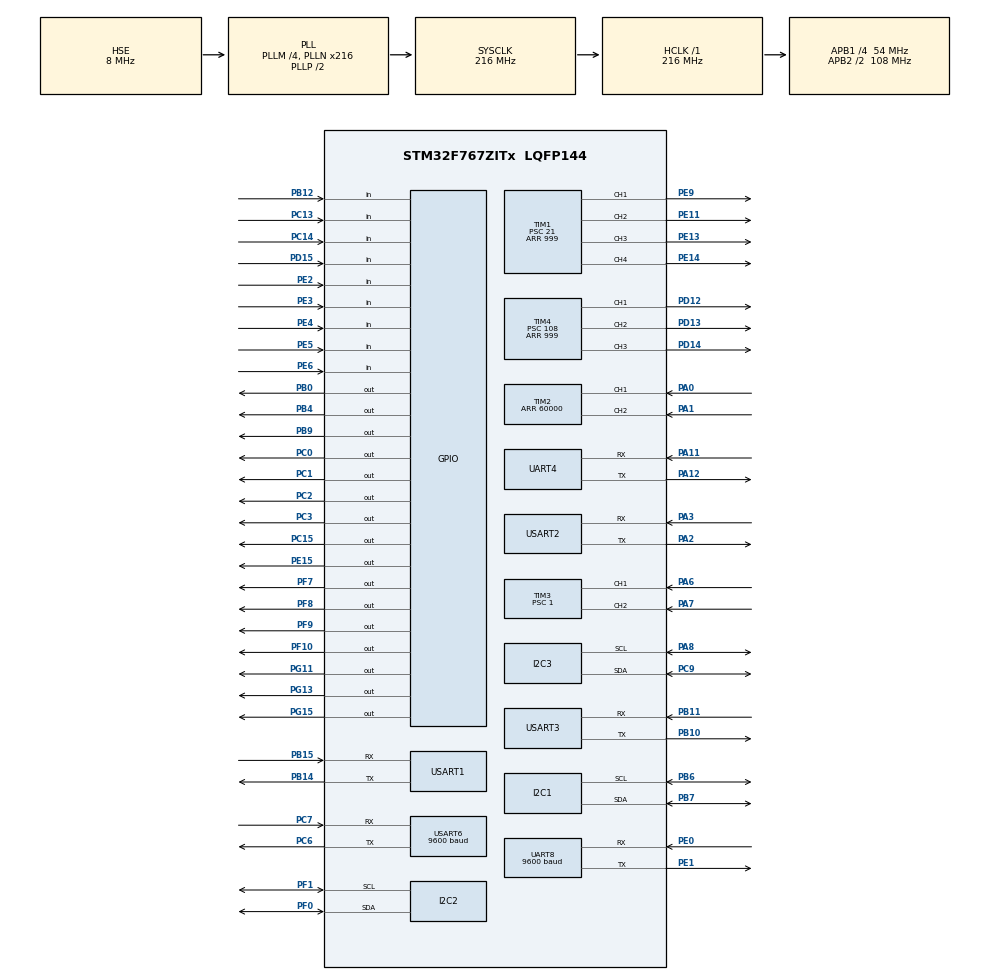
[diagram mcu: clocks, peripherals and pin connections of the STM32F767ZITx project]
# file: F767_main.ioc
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CORTEX_M7.ART_ACCLERATOR_ENABLE=1
CORTEX_M7.CPU_DCache=Enabled
CORTEX_M7.CPU_ICache=Enabled
CORTEX_M7.FlashInterface=TCM_Enabled
CORTEX_M7.PREFETCH_ENABLE=1
Dma.Request0=USART2_RX
Dma.Request1=USART3_RX
Dma.Request2=UART4_RX
Dma.UART4_RX.2.Direction=DMA_PERIPH_TO_MEMORY
Dma.UART4_RX.2.FIFOMode=DMA_FIFOMODE_DISABLE
Dma.UART4_RX.2.Instance=DMA1_Stream2
Dma.UART4_RX.2.MemDataAlignment=DMA_MDATAALIGN_BYTE
Dma.UART4_RX.2.MemInc=DMA_MINC_ENABLE
Dma.UART4_RX.2.Mode=DMA_CIRCULAR
Dma.UART4_RX.2.PeriphDataAlignment=DMA_PDATAALIGN_BYTE
Dma.UART4_RX.2.PeriphInc=DMA_PINC_DISABLE
Dma.UART4_RX.2.Priority=DMA_PRIORITY_LOW
Dma.USART2_RX.0.Direction=DMA_PERIPH_TO_MEMORY
Dma.USART2_RX.0.FIFOMode=DMA_FIFOMODE_DISABLE
Dma.USART2_RX.0.Instance=DMA1_Stream5
Dma.USART2_RX.0.MemDataAlignment=DMA_MDATAALIGN_BYTE
Dma.USART2_RX.0.MemInc=DMA_MINC_ENABLE
Dma.USART2_RX.0.Mode=DMA_CIRCULAR
Dma.USART2_RX.0.PeriphDataAlignment=DMA_PDATAALIGN_BYTE
Dma.USART2_RX.0.PeriphInc=DMA_PINC_DISABLE
Dma.USART2_RX.0.Priority=DMA_PRIORITY_LOW
Dma.USART3_RX.1.Direction=DMA_PERIPH_TO_MEMORY
Dma.USART3_RX.1.FIFOMode=DMA_FIFOMODE_DISABLE
Dma.USART3_RX.1.Instance=DMA1_Stream1
Dma.USART3_RX.1.MemDataAlignment=DMA_MDATAALIGN_BYTE
Dma.USART3_RX.1.MemInc=DMA_MINC_ENABLE
Dma.USART3_RX.1.Mode=DMA_CIRCULAR
Dma.USART3_RX.1.PeriphDataAlignment=DMA_PDATAALIGN_BYTE
Dma.USART3_RX.1.PeriphInc=DMA_PINC_DISABLE
Dma.USART3_RX.1.Priority=DMA_PRIORITY_LOW
I2C1.I2C_Fall_Time=300
I2C1.I2C_Rise_Time=1000
I2C1.Timing=0x40D32A31
I2C2.I2C_Fall_Time=300
I2C2.I2C_Rise_Time=1000
I2C2.Timing=0x40D32A31
I2C3.I2C_Fall_Time=300
I2C3.I2C_Rise_Time=1000
I2C3.Timing=0x40D32A31
IWDG.Prescaler=IWDG_PRESCALER_32
Mcu.Family=STM32F7
Mcu.Name=STM32F767ZITx
Mcu.Package=LQFP144
NVIC.DMA1_Stream1_IRQn=true\:4\:0\:true\:false\:true\:false
NVIC.DMA1_Stream2_IRQn=true\:3\:0\:true\:false\:true\:false
NVIC.DMA1_Stream5_IRQn=true\:2\:0\:true\:false\:true\:false
NVIC.PriorityGroup=NVIC_PRIORITYGROUP_4
NVIC.TIM6_DAC_IRQn=true\:5\:0\:true\:false\:true\:true
PA0/WKUP.Signal=S_TIM2_CH1_ETR
PA1.Signal=S_TIM2_CH2
PA11.Mode=Asynchronous
PA11.Signal=UART4_RX
PA12.Mode=Asynchronous
PA12.Signal=UART4_TX
PA13.Mode=Serial_Wire
PA13.Signal=SYS_JTMS-SWDIO
PA14.Mode=Serial_Wire
PA14.Signal=SYS_JTCK-SWCLK
PA2.Mode=Asynchronous
PA2.Signal=USART2_TX
PA3.Mode=Asynchronous
PA3.Signal=USART2_RX
PA6.Signal=S_TIM3_CH1
PA7.Signal=S_TIM3_CH2
PA8.Mode=I2C
PA8.Signal=I2C3_SCL
PB0.Signal=GPIO_Output
PB10.Mode=Asynchronous
PB10.Signal=USART3_TX
PB11.Mode=Asynchronous
PB11.Signal=USART3_RX
PB12.Signal=GPIO_Input
PB14.Mode=Asynchronous
PB14.Signal=USART1_TX
PB15.Mode=Asynchronous
PB15.Signal=USART1_RX
PB4.Signal=GPIO_Output
PB6.Mode=I2C
PB6.Signal=I2C1_SCL
PB7.Mode=I2C
PB7.Signal=I2C1_SDA
PB9.Signal=GPIO_Output
PC0.Signal=GPIO_Output
PC1.Signal=GPIO_Output
PC13.Signal=GPIO_Input
PC14/OSC32_IN.Signal=GPIO_Input
PC15/OSC32_OUT.Signal=GPIO_Output
PC2.Signal=GPIO_Output
PC3.Signal=GPIO_Output
PC6.Mode=Asynchronous
PC6.Signal=USART6_TX
PC7.Mode=Asynchronous
PC7.Signal=USART6_RX
PC9.Mode=I2C
PC9.Signal=I2C3_SDA
PD12.Signal=S_TIM4_CH1
PD13.Signal=S_TIM4_CH2
PD14.Signal=S_TIM4_CH3
PD15.Signal=GPIO_Input
PE0.Mode=Asynchronous
PE0.Signal=UART8_RX
PE1.Mode=Asynchronous
PE1.Signal=UART8_TX
PE11.Signal=S_TIM1_CH2
PE13.Signal=S_TIM1_CH3
PE14.Signal=S_TIM1_CH4
PE15.Signal=GPIO_Output
PE2.Signal=GPIO_Input
PE3.Signal=GPIO_Input
PE4.Signal=GPIO_Input
PE5.Signal=GPIO_Input
PE6.Signal=GPIO_Input
PE9.Signal=S_TIM1_CH1
PF0.Mode=I2C
PF0.Signal=I2C2_SDA
PF1.Mode=I2C
PF1.Signal=I2C2_SCL
PF10.Signal=GPIO_Output
PF7.Signal=GPIO_Output
PF8.Signal=GPIO_Output
PF9.Signal=GPIO_Output
PG11.Signal=GPIO_Output
PG13.Signal=GPIO_Output
PG15.Signal=GPIO_Output
PH0/OSC_IN.Mode=HSE-External-Oscillator
PH0/OSC_IN.Signal=RCC_OSC_IN
PH1/OSC_OUT.Mode=HSE-External-Oscillator
PH1/OSC_OUT.Signal=RCC_OSC_OUT
ProjectManager.HeapSize=0x400
ProjectManager.StackSize=0x800
ProjectManager.TargetToolchain=TrueSTUDIO
RCC.AHBFreq_Value=216000000
RCC.APB1CLKDivider=RCC_HCLK_DIV4
RCC.APB1Freq_Value=54000000
RCC.APB1TimFreq_Value=108000000
RCC.APB2CLKDivider=RCC_HCLK_DIV2
RCC.APB2Freq_Value=108000000
RCC.APB2TimFreq_Value=216000000
RCC.CortexFreq_Value=216000000
RCC.HCLKFreq_Value=216000000
RCC.HSE_VALUE=8000000
RCC.HSI_VALUE=16000000
RCC.LSE_VALUE=32768
RCC.PLLM=4
RCC.PLLN=216
RCC.PLLSourceVirtual=RCC_PLLSOURCE_HSE
RCC.SYSCLKFreq_VALUE=216000000
RCC.SYSCLKSource=RCC_SYSCLKSOURCE_PLLCLK
RCC.USBFreq_Value=216000000
RCC.VCOOutputFreq_Value=432000000
SH.S_TIM1_CH1.0=TIM1_CH1,PWM Generation1 CH1
SH.S_TIM1_CH2.0=TIM1_CH2,PWM Generation2 CH2
SH.S_TIM1_CH3.0=TIM1_CH3,PWM Generation3 CH3
SH.S_TIM1_CH4.0=TIM1_CH4,Output Compare4 CH4
SH.S_TIM2_CH1_ETR.0=TIM2_CH1,Encoder_Interface
SH.S_TIM2_CH2.0=TIM2_CH2,Encoder_Interface
SH.S_TIM3_CH1.0=TIM3_CH1,Encoder_Interface
SH.S_TIM3_CH2.0=TIM3_CH2,Encoder_Interface
SH.S_TIM4_CH1.0=TIM4_CH1,PWM Generation1 CH1
SH.S_TIM4_CH2.0=TIM4_CH2,PWM Generation2 CH2
SH.S_TIM4_CH3.0=TIM4_CH3,PWM Generation3 CH3
TIM1.Channel-Output\ Compare4\ CH4=TIM_CHANNEL_4
TIM1.Channel-PWM\ Generation1\ CH1=TIM_CHANNEL_1
TIM1.Channel-PWM\ Generation2\ CH2=TIM_CHANNEL_2
TIM1.Channel-PWM\ Generation3\ CH3=TIM_CHANNEL_3
TIM1.Period=999
TIM1.Prescaler=21
TIM2.Period=60000
TIM3.IC1Filter=2
TIM3.IC2Filter=2
TIM3.Period=7
TIM3.Prescaler=1
TIM4.Channel-PWM\ Generation1\ CH1=TIM_CHANNEL_1
TIM4.Channel-PWM\ Generation2\ CH2=TIM_CHANNEL_2
TIM4.Channel-PWM\ Generation3\ CH3=TIM_CHANNEL_3
TIM4.Period=999
TIM4.Prescaler=108
TIM6.Period=215
TIM6.Prescaler=10
UART4.WordLength=WORDLENGTH_8B
UART8.BaudRate=9600
UART8.WordLength=WORDLENGTH_8B
USART1.VirtualMode-Asynchronous=VM_ASYNC
USART1.WordLength=WORDLENGTH_8B
USART2.VirtualMode-Asynchronous=VM_ASYNC
USART2.WordLength=WORDLENGTH_8B
USART3.VirtualMode-Asynchronous=VM_ASYNC
USART3.WordLength=WORDLENGTH_8B
USART6.BaudRate=9600
USART6.VirtualMode-Asynchronous=VM_ASYNC
USART6.WordLength=WORDLENGTH_8B
VP_IWDG_VS_IWDG.Mode=IWDG_Activate
VP_TIM6_VS_ClockSourceINT.Mode=Enable_Timer
board=F767_main

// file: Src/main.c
/**
  ******************************************************************************
  * File Name          : main.c
  * Description        : Main program body
  ******************************************************************************
  ** This notice applies to any and all portions of this file
  * that are not between comment pairs USER CODE BEGIN and
  * USER CODE END. Other portions of this file, whether
  * inserted by the user or by software development tools
  * are owned by their respective copyright owners.
  *
  * COPYRIGHT(c) 2018 STMicroelectronics
  *
  * Redistribution and use in source and binary forms, with or without modification,
  * are permitted provided that the following conditions are met:
  *   1. Redistributions of source code must retain the above copyright notice,
  *      this list of conditions and the following disclaimer.
  *   2. Redistributions in binary form must reproduce the above copyright notice,
  *      this list of conditions and the following disclaimer in the documentation
  *      and/or other materials provided with the distribution.
  *   3. Neither the name of STMicroelectronics nor the names of its contributors
  *      may be used to endorse or promote products derived from this software
  *      without specific prior written permission.
  *
  * THIS SOFTWARE IS PROVIDED BY THE COPYRIGHT HOLDERS AND CONTRIBUTORS "AS IS"
  * AND ANY EXPRESS OR IMPLIED WARRANTIES, INCLUDING, BUT NOT LIMITED TO, THE
  * IMPLIED WARRANTIES OF MERCHANTABILITY AND FITNESS FOR A PARTICULAR PURPOSE ARE
  * DISCLAIMED. IN NO EVENT SHALL THE COPYRIGHT HOLDER OR CONTRIBUTORS BE LIABLE
  * FOR ANY DIRECT, INDIRECT, INCIDENTAL, SPECIAL, EXEMPLARY, OR CONSEQUENTIAL
  * DAMAGES (INCLUDING, BUT NOT LIMITED TO, PROCUREMENT OF SUBSTITUTE GOODS OR
  * SERVICES; LOSS OF USE, DATA, OR PROFITS; OR BUSINESS INTERRUPTION) HOWEVER
  * CAUSED AND ON ANY THEORY OF LIABILITY, WHETHER IN CONTRACT, STRICT LIABILITY,
  * OR TORT (INCLUDING NEGLIGENCE OR OTHERWISE) ARISING IN ANY WAY OUT OF THE USE
  * OF THIS SOFTWARE, EVEN IF ADVISED OF THE POSSIBILITY OF SUCH DAMAGE.
  *
  ******************************************************************************
  */

#include "main.h"
#include "stm32f7xx_hal.h"
#include "dma.h"
#include "i2c.h"
#include "iwdg.h"
#include "tim.h"
#include "usart.h"
#include "gpio.h"

/* USER CODE BEGIN Includes */
#include "management.h"
/* USER CODE END Includes */

/* USER CODE BEGIN PV */
/* Private variables ---------------------------------------------------------*/
TIM_MasterConfigTypeDef sMasterConfig;
TIM_OC_InitTypeDef sConfigOC;
TIM_BreakDeadTimeConfigTypeDef sBreakDeadTimeConfig;
TIM_Encoder_InitTypeDef sConfig;
TIM_MasterConfigTypeDef sMasterConfig;
/* USER CODE END PV */

void SystemClock_Config(void);

/* USER CODE BEGIN PFP */
/* Private function prototypes -----------------------------------------------*/
uint8_t make_end_flug();
void orange_ball_normal_field();
void IR_ball_normal_field();
void orange_ball_big_field();
void IR_ball_big_field();
void orange_ball_normal_field_use_marker();
void ball_near(int ball_digree,int distance);
void ball_middle(int ball_digree,int distance);
void ball_far(int ball_digree,int distance);
void GOLE();
void dataprintf();
void returnHorme();
void kick();
/* USER CODE END PFP */

/* USER CODE BEGIN 0 */
uint8_t counttime;
uint8_t modetemp=1;
uint32_t lineflugf[6]={0},lineflugb[6]={0},lineflugr[6]={0},lineflugl[6]={0};
void HAL_TIM_PeriodElapsedCallback(TIM_HandleTypeDef *htim){
		 if(HAL_GPIO_ReadPin(GPIOC,GPIO_PIN_13)){
			 //while(HAL_GPIO_ReadPin(GPIOC,GPIO_PIN_13)){
			 	motor1(1000,0);
				motor2(1000,0);
				motor3(1000,0);
				motor4(1000,0);
			  delayUs(6);
			  HAL_IWDG_Refresh(&hiwdg);
			  lineflugf[counttime]=1;
			 //}
		 }
		 else{lineflugf[counttime]=0;}
		  if(HAL_GPIO_ReadPin(GPIOE,GPIO_PIN_6)){
			 // while(HAL_GPIO_ReadPin(GPIOE,GPIO_PIN_6)){
				motor1(0,1000);
				motor2(1000,0);
				motor3(0,1000);
				motor4(1000,0);
			  delayUs(6);
			  HAL_IWDG_Refresh(&hiwdg);
			  lineflugr[counttime]=1;
			 //}
		  }
			 else{lineflugr[counttime]=0;}
		  if(HAL_GPIO_ReadPin(GPIOE,GPIO_PIN_5)){
			  //while(HAL_GPIO_ReadPin(GPIOE,GPIO_PIN_5)){
				motor1(1000,0);
				motor2(0,1000);
				motor3(1000,0);
				motor4(0,1000);
				  delayUs(6);
				  HAL_IWDG_Refresh(&hiwdg);
				  lineflugl[counttime]=1;
			//  }
			  }
			 else{lineflugl[counttime]=0;}
		  if(HAL_GPIO_ReadPin(GPIOC,GPIO_PIN_14)){
			 //while(HAL_GPIO_ReadPin(GPIOC,GPIO_PIN_14)){
				motor1(0,1000);
				motor2(0,1000);
				motor3(0,1000);
				motor4(0,1000);
			  delayUs(6);
			  HAL_IWDG_Refresh(&hiwdg);
			  lineflugb[counttime]=1;
			 //}
		  }
			 else{lineflugb[counttime]=0;}
		  if(lineflugf[0]+lineflugf[1]+lineflugf[2]+lineflugf[3]+lineflugf[4]+lineflugf[5]>=4){
			  linetemp=linetemp|0b00000001;
		 }
		  if(lineflugr[0]+lineflugr[1]+lineflugr[2]+lineflugr[3]+lineflugr[4]+lineflugr[5]>=4){
			  linetemp=linetemp|0b00000010;

				 TIM2->CNT=29965;
		  }
		  if(lineflugl[0]+lineflugl[1]+lineflugl[2]+lineflugl[3]+lineflugl[4]+lineflugl[5]>=4){
				  linetemp=linetemp|0b00000100;
				  TIM2->CNT=30035;
			  }
		  if(lineflugb[0]+lineflugb[1]+lineflugb[2]+lineflugb[3]+lineflugb[4]+lineflugb[5]>=4){
			  linetemp=linetemp|0b00001000;
		  }
		  counttime++;
		  if(counttime>5){
			  counttime=0;
		  }
}
void HAL_UART_RxCpltCallback(UART_HandleTypeDef *huart){
	  openMV_data_get();
	  Ultrasonic_get();
	  IR_get();
	  Line_Reset(balldata[1],IRdata[1],mode);
}

/* USER CODE END 0 */

int main(void)
{

  /* USER CODE BEGIN 1 */
	/*
	エンコーダー値未取得
	*/
  /* USER CODE END 1 */

  /* Enable I-Cache-------------------------------------------------------------*/
  SCB_EnableICache();

  /* Enable D-Cache-------------------------------------------------------------*/
  SCB_EnableDCache();

  /* MCU Configuration----------------------------------------------------------*/

  /* Reset of all peripherals, Initializes the Flash interface and the Systick. */
  HAL_Init();

  /* Configure the system clock */
  SystemClock_Config();

  /* Initialize all configured peripherals */
  MX_GPIO_Init();
  MX_DMA_Init();
  MX_USART1_UART_Init();
  MX_USART2_UART_Init();
  MX_USART3_UART_Init();
  MX_I2C1_Init();
  MX_I2C2_Init();
 // MX_IWDG_Init();
  MX_USART6_UART_Init();
  MX_I2C3_Init();
  MX_TIM6_Init();
  MX_TIM2_Init();
  MX_TIM3_Init();
  MX_TIM1_Init();
  MX_UART8_Init();
  MX_TIM4_Init();
  MX_UART4_Init();

  /* USER CODE BEGIN 2 */

  init_xpritf(&huart1);
  xdev_out(uart_putc);
  JY901_init(&hi2c1);
  HMC6352_init(&hi2c1);
  if(HAL_TIM_Encoder_Init(&htim3, &sConfig) != HAL_OK)
        {
          Error_Handler();
        }
     HAL_TIM_Encoder_Start(&htim3, TIM_CHANNEL_ALL);
     TIM3->CNT=7;
     if(HAL_TIM_Encoder_Init(&htim2, &sConfig) != HAL_OK)
     {
       Error_Handler();
     }
  HAL_TIM_Encoder_Start(&htim2, TIM_CHANNEL_ALL);
  TIM2->CNT=30000;
  HAL_UART_Receive_DMA(&huart2, (uint8_t *)Rxbuf_opneMV,11);
  HAL_UART_Receive_DMA(&huart3, (uint8_t *)Rxbuf_Ultrasonic,11);
  HAL_UART_Receive_DMA(&huart4, (uint8_t *)Rxbuf_IR,5);
  if(HAL_GPIO_ReadPin(GPIOB,GPIO_PIN_12)==1){
  beep(3,50,50);
  MX_IWDG_Init();
  }
  else{
	  beep(10,30,30);
  }
  DFPlayer_init(&huart8);
  HAL_Delay(500);
  HAL_IWDG_Refresh(&hiwdg);
  DFPlayer_setvolume(0x10);
  HAL_Delay(200);
  DFPlayer_playmp3(3);
  HAL_IWDG_Refresh(&hiwdg);
  HOUI_def=JY901_def_set();
  linetemp=0;
  place[0]=3;
  place[1]=3;
  /* USER CODE END 2 */

  /* Infinite loop */
  while (1)
  {

  /* USER CODE BEGIN 3 */
	 //HAL_GPIO_TogglePin(GPIOB,GPIO_PIN_0);
	  HAL_IWDG_Refresh(&hiwdg);
	  HAL_GPIO_TogglePin(GPIOB,GPIO_PIN_0);
		dataprintf();
		delayUs(100);
		mode=7-(TIM3->CNT);
	  if(mode!=modetemp){
		  beep(1,5,5);
	  }
		modetemp=mode;
		switch (mode) {
			case 0:
				motor_move(0,0,0);
				light(1000,0,1000);
				if(HAL_GPIO_ReadPin(GPIOD,GPIO_PIN_15)==1){
					motor_move(0,0,0);
					DFPlayer_playmp3(11);
					HOUI_calibration(2000,1);
					motor_move(200,0,200);
					HOUI_calibration(24900,2);
					HOUI_calibration(100,3);
					motor_move(0,0,0);
					HOUI_calibration(100,4);
					DFPlayer_stopmp3();
					beep(2,100,100);
					HAL_IWDG_Refresh(&hiwdg);
				}
				break;
			case 1:
				motor_move(0,0,0);
				light(1000,0,0);
				if(HAL_GPIO_ReadPin(GPIOD,GPIO_PIN_15)==1){
					DFPlayer_playmp3(4);
					HAL_Delay(500);
					HAL_IWDG_Refresh(&hiwdg);
					beep(1,10,100);
					HAL_GPIO_WritePin(GPIOE,GPIO_PIN_15,1);
					HAL_Delay(40);
					HAL_GPIO_WritePin(GPIOE,GPIO_PIN_15,0);
					HAL_Delay(30);
				     TIM3->CNT=6;
				}
				break;
			case 2:
				//orange ball normal field
				light(0,1000,1000);
				motor_move(0,0,0);
				if(HAL_GPIO_ReadPin(GPIOD,GPIO_PIN_15)==1){
					HAL_TIM_Base_Start_IT(&htim6);
					light(1000,1000,1000);
					DFPlayer_playmp3(6);
					while(make_end_flug()){
					    HAL_GPIO_TogglePin(GPIOB,GPIO_PIN_0);
						HAL_IWDG_Refresh(&hiwdg);
						HOUI_Correction();
						orange_ball_normal_field();
						dataprintf();
					}
					HAL_TIM_Base_Stop_IT(&htim6);
					motor_move(0,0,0);
					light(0,1000,1000);
					DFPlayer_playmp3(5);
					HAL_Delay(1500);
					DFPlayer_stopmp3();
					HAL_IWDG_Refresh(&hiwdg);
					  TIM2->CNT=30000;
				}
				break;
			case 3:
				//IR ball normal field
				light(1000,1000,0);
				motor_move(0,0,0);
				if(HAL_GPIO_ReadPin(GPIOD,GPIO_PIN_15)==1){
					light(1000,1000,1000);
					  HAL_TIM_Base_Start_IT(&htim6);
					if(HAL_GPIO_ReadPin(GPIOD,GPIO_PIN_15)==1){
						light(1000,1000,1000);
						DFPlayer_playmp3(6);
						while(make_end_flug()){
							HAL_GPIO_TogglePin(GPIOB,GPIO_PIN_0);
							HAL_IWDG_Refresh(&hiwdg);
							HOUI_Correction();
							IR_ball_normal_field();
							dataprintf();
						}
						HAL_TIM_Base_Stop_IT(&htim6);
						light(1000,1000,0);
						motor_move(0,0,0);
						DFPlayer_playmp3(5);
						HAL_Delay(1500);
						DFPlayer_stopmp3();
						HAL_IWDG_Refresh(&hiwdg);
						  TIM2->CNT=30000;
					}
				}
				break;
			case 4:
				//orange ball big field
				light(0,1000,0);
				motor_move(0,0,0);
				if(HAL_GPIO_ReadPin(GPIOD,GPIO_PIN_15)==1){
					light(1000,1000,1000);
					  HAL_TIM_Base_Start_IT(&htim6);
					if(HAL_GPIO_ReadPin(GPIOD,GPIO_PIN_15)==1){
						light(1000,1000,1000);
						DFPlayer_playmp3(6);
						while(make_end_flug()){
							HAL_GPIO_TogglePin(GPIOB,GPIO_PIN_0);
							HAL_IWDG_Refresh(&hiwdg);
							HOUI_Correction();
							orange_ball_big_field();
						}
						HAL_TIM_Base_Stop_IT(&htim6);
						light(0,1000,0);
						motor_move(0,0,0);
						DFPlayer_playmp3(5);
						HAL_Delay(1500);
						DFPlayer_stopmp3();
						HAL_IWDG_Refresh(&hiwdg);
					}
				}
				break;
			case 5:
				//IR ball big field
				light(0,0,1000);
				motor_move(0,0,0);
				if(HAL_GPIO_ReadPin(GPIOD,GPIO_PIN_15)==1){
					light(1000,1000,1000);
					  HAL_TIM_Base_Start_IT(&htim6);
					if(HAL_GPIO_ReadPin(GPIOD,GPIO_PIN_15)==1){
						light(1000,1000,1000);
						DFPlayer_playmp3(6);
						while(make_end_flug()){
							HAL_GPIO_TogglePin(GPIOB,GPIO_PIN_0);
							HAL_IWDG_Refresh(&hiwdg);
							HOUI_Correction();
							IR_ball_big_field();
						}

						  TIM2->CNT=30000;
						HAL_TIM_Base_Stop_IT(&htim6);
						light(0,0,1000);
						motor_move(0,0,0);
						DFPlayer_playmp3(5);
						HAL_Delay(1500);
						DFPlayer_stopmp3();
						HAL_IWDG_Refresh(&hiwdg);
					}
				}
				break;
			case 6:
				//orange ball normal field use marker
				light(0,0,0);
				motor_move(0,0,0);
				if(HAL_GPIO_ReadPin(GPIOD,GPIO_PIN_15)==1){
					  //HAL_TIM_Base_Start_IT(&htim6);
					light(1000,1000,1000);
					if(HAL_GPIO_ReadPin(GPIOD,GPIO_PIN_15)==1){
						light(1000,1000,1000);
						DFPlayer_playmp3(6);
						while(make_end_flug()){
						/*	HAL_GPIO_TogglePin(GPIOB,GPIO_PIN_0);
							HAL_IWDG_Refresh(&hiwdg);
							HOUI_Correction();
							orange_ball_normal_field_use_marker();*/
							HAL_IWDG_Refresh(&hiwdg);

						    if(HAL_GPIO_ReadPin(GPIOE,GPIO_PIN_3)==1){
							kick();
						    }
						}
						//HAL_TIM_Base_Stop_IT(&htim6);
						light(0,0,0);
						motor_move(0,0,0);
						DFPlayer_playmp3(5);
						HAL_Delay(1500);
						DFPlayer_stopmp3();
						HAL_IWDG_Refresh(&hiwdg);
					}
				}
				break;
			case 7:
				//HOUI_set
				light(1000,1000,1000);
				motor_move(0,0,0);
				if(HAL_GPIO_ReadPin(GPIOD,GPIO_PIN_15)==1){
					light(1000,1000,1000);
					HAL_IWDG_Refresh(&hiwdg);
					DFPlayer_playmp3(12);
					HOUI_def=JY901_def_set();
				}
				break;
				  linetemp=0;
			}
  }
  /* USER CODE END 3 */

}

/** System Clock Configuration
*/
void SystemClock_Config(void)
{

  RCC_OscInitTypeDef RCC_OscInitStruct;
  RCC_ClkInitTypeDef RCC_ClkInitStruct;
  RCC_PeriphCLKInitTypeDef PeriphClkInitStruct;

    /**Configure the main internal regulator output voltage
    */
  __HAL_RCC_PWR_CLK_ENABLE();

  __HAL_PWR_VOLTAGESCALING_CONFIG(PWR_REGULATOR_VOLTAGE_SCALE1);

    /**Initializes the CPU, AHB and APB busses clocks
    */
  RCC_OscInitStruct.OscillatorType = RCC_OSCILLATORTYPE_LSI|RCC_OSCILLATORTYPE_HSE;
  RCC_OscInitStruct.HSEState = RCC_HSE_ON;
  RCC_OscInitStruct.LSIState = RCC_LSI_ON;
  RCC_OscInitStruct.PLL.PLLState = RCC_PLL_ON;
  RCC_OscInitStruct.PLL.PLLSource = RCC_PLLSOURCE_HSE;
  RCC_OscInitStruct.PLL.PLLM = 4;
  RCC_OscInitStruct.PLL.PLLN = 216;
  RCC_OscInitStruct.PLL.PLLP = RCC_PLLP_DIV2;
  RCC_OscInitStruct.PLL.PLLQ = 2;
  if (HAL_RCC_OscConfig(&RCC_OscInitStruct) != HAL_OK)
  {
    _Error_Handler(__FILE__, __LINE__);
  }

    /**Activate the Over-Drive mode
    */
  if (HAL_PWREx_EnableOverDrive() != HAL_OK)
  {
    _Error_Handler(__FILE__, __LINE__);
  }

    /**Initializes the CPU, AHB and APB busses clocks
    */
  RCC_ClkInitStruct.ClockType = RCC_CLOCKTYPE_HCLK|RCC_CLOCKTYPE_SYSCLK
                              |RCC_CLOCKTYPE_PCLK1|RCC_CLOCKTYPE_PCLK2;
  RCC_ClkInitStruct.SYSCLKSource = RCC_SYSCLKSOURCE_PLLCLK;
  RCC_ClkInitStruct.AHBCLKDivider = RCC_SYSCLK_DIV1;
  RCC_ClkInitStruct.APB1CLKDivider = RCC_HCLK_DIV4;
  RCC_ClkInitStruct.APB2CLKDivider = RCC_HCLK_DIV2;

  if (HAL_RCC_ClockConfig(&RCC_ClkInitStruct, FLASH_LATENCY_7) != HAL_OK)
  {
    _Error_Handler(__FILE__, __LINE__);
  }

  PeriphClkInitStruct.PeriphClockSelection = RCC_PERIPHCLK_USART1|RCC_PERIPHCLK_USART2
                              |RCC_PERIPHCLK_USART3|RCC_PERIPHCLK_USART6
                              |RCC_PERIPHCLK_UART4|RCC_PERIPHCLK_UART8
                              |RCC_PERIPHCLK_I2C1|RCC_PERIPHCLK_I2C2
                              |RCC_PERIPHCLK_I2C3;
  PeriphClkInitStruct.Usart1ClockSelection = RCC_USART1CLKSOURCE_PCLK2;
  PeriphClkInitStruct.Usart2ClockSelection = RCC_USART2CLKSOURCE_PCLK1;
  PeriphClkInitStruct.Usart3ClockSelection = RCC_USART3CLKSOURCE_PCLK1;
  PeriphClkInitStruct.Uart4ClockSelection = RCC_UART4CLKSOURCE_PCLK1;
  PeriphClkInitStruct.Usart6ClockSelection = RCC_USART6CLKSOURCE_PCLK2;
  PeriphClkInitStruct.Uart8ClockSelection = RCC_UART8CLKSOURCE_PCLK1;
  PeriphClkInitStruct.I2c1ClockSelection = RCC_I2C1CLKSOURCE_PCLK1;
  PeriphClkInitStruct.I2c2ClockSelection = RCC_I2C2CLKSOURCE_PCLK1;
  PeriphClkInitStruct.I2c3ClockSelection = RCC_I2C3CLKSOURCE_PCLK1;
  if (HAL_RCCEx_PeriphCLKConfig(&PeriphClkInitStruct) != HAL_OK)
  {
    _Error_Handler(__FILE__, __LINE__);
  }

    /**Configure the Systick interrupt time
    */
  HAL_SYSTICK_Config(HAL_RCC_GetHCLKFreq()/1000);

    /**Configure the Systick
    */
  HAL_SYSTICK_CLKSourceConfig(SYSTICK_CLKSOURCE_HCLK);

  /* SysTick_IRQn interrupt configuration */
  HAL_NVIC_SetPriority(SysTick_IRQn, 0, 0);
}

/* USER CODE BEGIN 4 */

void orange_ball_normal_field(){
	 if(openMVdata[0]==0){
		//motor_move(250,0,0);
		 returnHorme();
	  }
	 else if(openMVdata[0]>5){
		 //motor_move(250,0,0);
		 returnHorme();
	 }
	  else if(balldata[2]<200){
	    if(balldata[2]<60 || balldata[1]>300){
	    if(HAL_GPIO_ReadPin(GPIOE,GPIO_PIN_3)==1){
	    	GOLE(balldata[1],balldata[2]);
	  }
	 else{
		 ball_near(balldata[1],balldata[2]);
	 }
	    }
	    else{
			 ball_near(balldata[1],balldata[2]);
	      }
	    }
	    else if(balldata[0]<350){
			 ball_middle(balldata[1],balldata[2]);
	      }
	    else{
			 ball_far(balldata[1],balldata[2]);
	    }

	 dataprintf();

}

void IR_ball_normal_field(){
	 if(IR[0]==0){
			 //motor_move(250,0,0);
			 returnHorme();
		  }
	 else if(IR[0]>400){
		 if(IR[1]<60 || IR[1]>300){
		    if(HAL_GPIO_ReadPin(GPIOE,GPIO_PIN_3)==1){
		    	GOLE(IR[1],IR[0]);
		  }
		 else{
			 ball_near(IR[1],IR[0]);
		 }
		    }
		    else{
				 ball_near(IR[1],IR[0]);
		      }
		    }
		    else if(IR[0]>300){
				 ball_middle(IR[1],IR[0]);
		      }
		    else{
				 ball_far(IR[1],IR[0]);
		      }
}

void orange_ball_big_field(){

}

void IR_ball_big_field(){

}

void orange_ball_normal_field_use_marker(){

}

void kick(){
	if(HAL_GPIO_ReadPin(GPIOE,GPIO_PIN_4)==1){
	motor_move(125,0,1000);
	HAL_Delay(5);
	HAL_GPIO_WritePin(GPIOE,GPIO_PIN_15,1);
	HAL_Delay(40);
	HAL_GPIO_WritePin(GPIOE,GPIO_PIN_15,0);
	HAL_Delay(5);
	}
	else{
		HAL_GPIO_WritePin(GPIOE,GPIO_PIN_15,0);
	}
}

void GOLE(int ball_digree,int distance){
	getplace();
	if(place[0]==1){
		motor_move(125,40,900);
	  }
	else if(place[0]==5){
		motor_move(125,320,900);
	  }
	else{
	    if(place[1]<=2){
	      if(Ultasonic[0]<13 && Ultasonic[1]<13){
	    	 switch (place[0]) {
				case 2:
					motor_move(125,40,900);
					break;
				case 4:
					motor_move(125,320,900);
					break;
				default:
					motor_move(125,320,900);
					break;
			}
	    	 }
	      else if(Ultasonic[0]<13){motor_move(125,320,900);}
	      else if(Ultasonic[1]<13){motor_move(125,40,900);}
	      else{
		    	 switch (place[0]) {
					case 2:
						kick();motor_move(125,ball_digree,900);kick();
						break;
					case 4:
						kick();motor_move(125,ball_digree,900);kick();
						break;
					default:
						kick();motor_move(125,ball_digree,900);kick();
						break;
				}
	      }
	        }
	    else if(place[1]==5){
		      if(Ultasonic[0]<13 && Ultasonic[1]<13){
		    	 switch (place[0]) {
					case 2:
						motor_move(125,40,900);kick();
						break;
					case 4:
						motor_move(125,320,900);kick();
						break;
					default:
						motor_move(125,320,900);kick();
						break;
				}
		    	 }
		      else if(Ultasonic[0]<13){motor_move(125,320,900);kick();}
		      else if(Ultasonic[1]<13){motor_move(125,40,900);kick();}
		      else{
			    	 switch (place[0]) {
						case 2:
							kick();motor_move(125,ball_digree,900);kick();
							break;
						case 4:
							kick();motor_move(125,ball_digree,900);kick();
							break;
						default:
							motor_move(125,ball_digree,900);kick();
							break;
					}
		      }
		   }
	   else{
		      if(Ultasonic[0]<13 && Ultasonic[1]<13){
		    	 switch (place[0]) {
					case 2:
						motor_move(125,40,900);
						break;
					case 4:
						motor_move(125,320,900);
						break;
					default:
						motor_move(125,320,900);
						break;
				}
		    	 }
		      else if(Ultasonic[0]<13){motor_move(125,320,900);kick();}
		      else if(Ultasonic[1]<13){motor_move(125,40,900);kick();}
		      else{
			    	 switch (place[0]) {
						case 2:
							kick();motor_move(125,ball_digree,900);kick();
							break;
						case 4:
							kick();motor_move(125,ball_digree,900);kick();
							break;
						default:
							motor_move(125,ball_digree,900);kick();
							break;
					}
		      }
	    }
	    }
}

void ball_near(int ball_digree,int distance){
	int digree_cal,digree_cal_2;
	int cal_temp;
  if(Ultasonic[3]<=13){
    if(ball_digree>90 && ball_digree<=180){motor_move(125,90,900);}
    else if(ball_digree>180 && ball_digree<270){motor_move(125,270,900);}
    else{motor_move(125,ball_digree,900);}
    }
  else if(place[1]==1){
	  motor_move(125,ball_digree,900);
  }
  else{
  if(ball_digree>=172 && ball_digree<=180){
	  if(place[0]==1){
    motor_move(125,90,900);
    HAL_Delay(50);
	  }
	  else{
		    motor_move(125,270,900);
		    HAL_Delay(10);
	  }
      }
    else if(ball_digree>=180 && ball_digree<=188){
    	if(place[0]==5){
		    motor_move(125,270,900);
		    HAL_Delay(50);
    	}
    	else{
      motor_move(125,90,900);
	    HAL_Delay(10);
    	}
      }
    else{
  if(ball_digree>180){
	  cal_temp=360-ball_digree;
   digree_cal=abs(cal_temp)*(float)(log(abs(cal_temp+1))/2);
    if(digree_cal>=180){
      digree_cal=180;
      }
    else{
    digree_cal=360-digree_cal;
    }
    digree_cal_2=abs(cal_temp)*(float)(log(abs(cal_temp+1))*0.45);
    if(digree_cal_2>=180){
      digree_cal_2=180;
      }
    else{
    digree_cal_2=360-digree_cal_2;
    }
    }
   else{
    cal_temp=ball_digree;
    digree_cal=cal_temp*(float)(log(cal_temp+1)/2);
    if(digree_cal>=180){
      digree_cal=180;
      }
    digree_cal_2=cal_temp*(float)(log(cal_temp+1)*0.45);
    if(digree_cal_2>=180){
      digree_cal_2=180;
      }
    }
    if(digree_cal<14){motor_move(125,ball_digree,1000);}
    else if(digree_cal>350){motor_move(125,ball_digree,1000);}
    else{motor_move(125,digree_cal_2,900);}
 }
 }
  }
void ball_middle(int ball_digree,int distance){
	int digree_cal,digree_cal_2;
		int cal_temp;
	  if(Ultasonic[3]<=13){
	    if(ball_digree>90 && ball_digree<=180){motor_move(125,90,900);}
	    else if(ball_digree>180 && ball_digree<270){motor_move(125,270,900);}
	    else{motor_move(125,ball_digree,900);
	    }
	    }
	  else if(place[1]==1){
		  motor_move(125,ball_digree,950);
	  }
	  else{
	  if(ball_digree>175 && ball_digree<=180){
		  if(place[0]==1){
	    motor_move(125,90,900);
	    HAL_Delay(50);
		  }
		  else{
			    motor_move(125,270,900);
			    HAL_Delay(10);
		  }
	      }
	    else if(ball_digree>180 && ball_digree<185){
	    	if(place[0]==5){
			    motor_move(125,270,900);
			    HAL_Delay(50);
	    	}
	    	else{
	      motor_move(125,90,900);
		    HAL_Delay(10);
	    	}
	      }
	    else{
	  if(ball_digree>180){
		  cal_temp=360-ball_digree;
	   digree_cal=abs(cal_temp)*(float)(log(abs(cal_temp+1))/2);
	    if(digree_cal>=180){
	      digree_cal=180;
	      }
	    else{
	    digree_cal=360-digree_cal;
	    }
	    digree_cal_2=abs(cal_temp)*(float)(log(abs(cal_temp+1))*0.4);
	    if(digree_cal_2>=180){
	      digree_cal_2=180;
	      }
	    else{
	    digree_cal_2=360-digree_cal_2;
	    }
	    }
	   else{
	    cal_temp=ball_digree;
	    digree_cal=cal_temp*(float)(log(cal_temp+1)/2);
	    if(digree_cal>=180){
	      digree_cal=180;
	      }
	    digree_cal_2=cal_temp*(float)(log(cal_temp+1)*0.4);
	    if(digree_cal_2>=180){
	      digree_cal_2=180;
	      }
	    }
	    if(digree_cal<14){motor_move(125,ball_digree,1000);}
	    else if(digree_cal>350){motor_move(125,ball_digree,1000);}
	    else{motor_move(125,digree_cal_2,950);}
	 }
	  }
  }
void ball_far(int ball_digree,int distance){
	int digree_cal,digree_cal_2;
		int cal_temp;
	if(Ultasonic[3]<=13){
	    if(ball_digree>90 && ball_digree<=180){motor_move(125,90,900);}
	    else if(ball_digree>180 && ball_digree<270){motor_move(125,270,900);}
	    else{motor_move(125,ball_digree,900);
	    }
	    }
	  else if(place[1]==1){
		  motor_move(125,ball_digree,1000);
	  }
	  else{
	  if(ball_digree>175 && ball_digree<=180){
		  if(place[0]==1){
	    motor_move(125,90,900);
	    HAL_Delay(50);
		  }
		  else{
			    motor_move(125,270,900);
			    HAL_Delay(10);
		  }
	      }
	    else if(ball_digree>180 && ball_digree<185){
	    	if(place[0]==5){
			    motor_move(125,270,900);
			    HAL_Delay(50);
	    	}
	    	else{
	      motor_move(125,90,900);
		    HAL_Delay(10);
	    	}
	      }
	    else{
	  if(ball_digree>180){
		  cal_temp=360-ball_digree;
	   digree_cal=abs(cal_temp)*(float)(log(abs(cal_temp+1))/2);
	    if(digree_cal>=180){
	      digree_cal=180;
	      }
	    else{
	    digree_cal=360-digree_cal;
	    }
	    digree_cal_2=abs(cal_temp)*(float)(log(abs(cal_temp+1))*0.35);
	    if(digree_cal_2>=180){
	      digree_cal_2=180;
	      }
	    else{
	    digree_cal_2=360-digree_cal_2;
	    }
	    }
	   else{
	    cal_temp=ball_digree;
	    digree_cal=cal_temp*(float)(log(cal_temp+1)/2);
	    if(digree_cal>=180){
	      digree_cal=180;
	      }
	    digree_cal_2=cal_temp*(float)(log(cal_temp+1)*0.35);
	    if(digree_cal_2>=180){
	      digree_cal_2=180;
	      }
	    }
	    if(digree_cal<14){motor_move(125,ball_digree,1000);}
	    else if(digree_cal>350){motor_move(125,ball_digree,1000);}
	    else{motor_move(125,digree_cal_2,1000);}
	 }
	 }
}

void returnHorme(){
	getplace();
	if(place[0]==3 || place[0]==2 || place[0]==4){
		if(place[1]<=2){
			motor1(1000,1000);
			motor2(1000,1000);
			motor3(1000,1000);
			motor4(1000,1000);
		}
		else{
			motor_move(125,180,800);
		}
	}
	else{
	if(place[0]==1){motor_move(125,90,800);}
	else if(place[0]==2){motor_move(125,90,800);}
	else if(place[0]==4){motor_move(125,270,800);}
	else if(place[0]==5){motor_move(125,270,800);}
	else if(place[0]==6){
		motor1(1000,1000);
		motor2(1000,1000);
		motor3(1000,1000);
		motor4(1000,1000);
	}
	}
}

void dataprintf(){

	if(mofumofu2>=500){
	  if(HAL_GPIO_ReadPin(GPIOB,GPIO_PIN_12)==0){
		  getplace();
	  xprintf(" JY901=%d",JY901_yaw_get(HOUI_def));
	  //xprintf(" HMC6352=%d",HMC6352_yaw_get(0));
	   xprintf(" IR[0]=%d",IR[0]);
	   xprintf(" IR[1]=%d",IR[1]);
	  xprintf(" TM2=%d",TIM2->CNT);/*
	  xprintf(" SW=%d",HAL_GPIO_ReadPin(GPIOD,GPIO_PIN_15));*/
	  xprintf(" b1=%d",HAL_GPIO_ReadPin(GPIOE,GPIO_PIN_4));
	  xprintf(" b2=%d",HAL_GPIO_ReadPin(GPIOE,GPIO_PIN_3));
	  xprintf(" Line=%d",linetemp);
	  xprintf(" LRFB=%d%d%d%d",HAL_GPIO_ReadPin(GPIOE,GPIO_PIN_5),HAL_GPIO_ReadPin(GPIOE,GPIO_PIN_6)
			  ,HAL_GPIO_ReadPin(GPIOC,GPIO_PIN_13),HAL_GPIO_ReadPin(GPIOC,GPIO_PIN_14));
	  xprintf(" P0=%d",place[0]);
	  xprintf(" P1=%d",place[1]);
	  //xprintf(" T0=%d",Ultasonic[0]);
	  //xprintf(" T1=%d",Ultasonic[1]);
	  //xprintf(" T2=%d",Ultasonic[2]);
	  xprintf(" T3=%d",Ultasonic[3]);
	  //xprintf(" T4=%d",Ultasonic[4]);
	  xprintf(" TLa=%d",TLa);
	  xprintf(" TRa=%d",TRa);
	  //xprintf(" TR+TL=%d",Ultasonic[2]+Ultasonic[4]);
	  xprintf(" n=%d",openMVdata[0]);
	  //xprintf(" ball_x=%d",openMVdata[1]);
	  //xprintf(" ball_y=%d",openMVdata[2]);
	  //xprintf(" ball_r=%d",balldata[0]);*/
	  xprintf(" R=%d",balldata[2]);
	  xprintf(" ball_dig=%d",balldata[1]);
	  //xprintf(" n=%d",openMVdata[3]);
	  //xprintf(" mark_x=%d",openMVdata[4]);
	  //xprintf(" mark_y=%d",openMVdata[5]);
	  /*xprintf(" ball_r=%d",balldata[0]);*/
	  //xprintf(" R_mark=%d",markerdata[2]);
	  //xprintf(" marker_dig=%d",markerdata[1]);

	  xprintf("\r\n");
	  mofumofu2=0;
	  }
	}
	else{
		mofumofu2++;
	}
}

/* USER CODE END 4 */

void _Error_Handler(char * file, int line)
{
  while(1)
  {
  }
}

/************************ (C) COPYRIGHT STMicroelectronics *****END OF FILE****/
